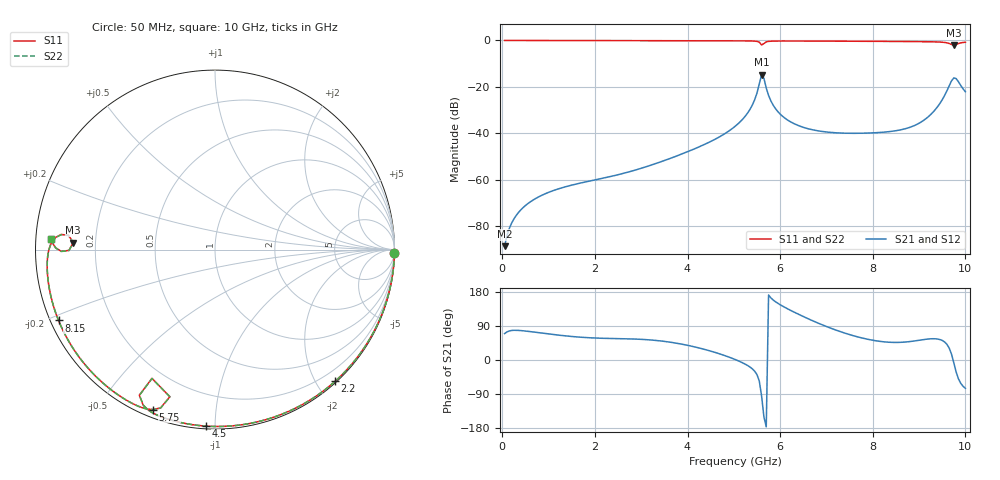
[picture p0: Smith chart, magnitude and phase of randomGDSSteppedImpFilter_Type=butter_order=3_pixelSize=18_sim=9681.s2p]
! freq	dB(S11)	phase(S11)	dB(S12)	phase(S12)
!  dB(S21)	phase(S21)	dB(S22)	phase(S22)
!S-par simulation data
#  GHz  S  DB  R 50
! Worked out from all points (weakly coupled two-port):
!   200 points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, 50 MHz to 10 GHz, reference 50 ohm
!   highest |S21| = -14.71 dB at 5.6 GHz (marker M1); lowest = -88.7 dB at 50 MHz (marker M2)
!   lowest |S11| = -2.0 dB at 9.75 GHz (marker M3), VSWR 8.56, Z = 5.85 + j1.22 ohm
!   |S11| at or under -10 dB: nowhere
!   |S22| runs from -2.0 to 0.0 dB; largest |S21 - S12| = 0
!   S11 on the Smith chart (normalised r, x): 50 MHz: open; 2.2 GHz: 0.02, -2.27; 4.5 GHz: 0.01, -0.95; 5.75 GHz: 0.03, -0.68; 8.15 GHz: 0.02, -0.22; 10 GHz: 0.05, +0.03
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0.05  -0.00 -1.1  -88.71 69.8  -88.71 69.8  -0.00 -1.1
0.15  -0.00 -3.3  -81.14 76.7  -81.14 76.7  -0.00 -3.3
0.4  -0.01 -8.9  -73.05 77.7  -73.05 77.7  -0.01 -8.9
0.75  -0.02 -16.6  -67.81 72.7  -67.81 72.7  -0.02 -16.6
1.75  -0.05 -38.1  -61.21 59.7  -61.21 59.7  -0.05 -38.1
2.2  -0.06 -47.6  -59.28 57.2  -59.28 57.2  -0.06 -47.6
3.4  -0.09 -71.9  -52.48 50.6  -52.48 50.6  -0.09 -71.8
4.5  -0.13 -93.0  -43.56 23.5  -43.56 23.5  -0.13 -92.9
5.05  -0.16 -103.5  -36.65 0.3  -36.65 0.3  -0.16 -103.4
5.4  -0.24 -111.2  -27.82 -23.4  -27.82 -23.4  -0.24 -111.2
5.6  -1.95 -116.1  -14.71 -95.9  -14.71 -95.9  -1.95 -116.0
5.65  -1.34 -107.0  -16.37 -150.6  -16.37 -150.6  -1.33 -107.0
5.75  -0.39 -111.2  -23.71 171.4  -23.71 171.4  -0.39 -111.2
6.1  -0.24 -119.8  -33.46 139.0  -33.46 139.0  -0.23 -119.7
6.7  -0.26 -130.7  -38.52 103.7  -38.52 103.7  -0.26 -130.6
8.15  -0.38 -155.6  -39.68 49.2  -39.68 49.2  -0.38 -155.6
8.35  -0.41 -159.1  -39.32 46.9  -39.32 46.9  -0.40 -159.1
8.85  -0.47 -168.1  -37.10 49.4  -37.10 49.4  -0.47 -168.0
9.2  -0.55 -174.8  -32.87 55.4  -32.87 55.4  -0.55 -174.7
9.45  -0.69 179.7  -27.14 53.9  -27.14 53.9  -0.69 179.8
9.75  -2.04 177.2  -16.16 -7.4  -16.16 -7.4  -2.04 177.3
10  -0.78 176.3  -22.12 -74.8  -22.12 -74.8  -0.78 176.4
